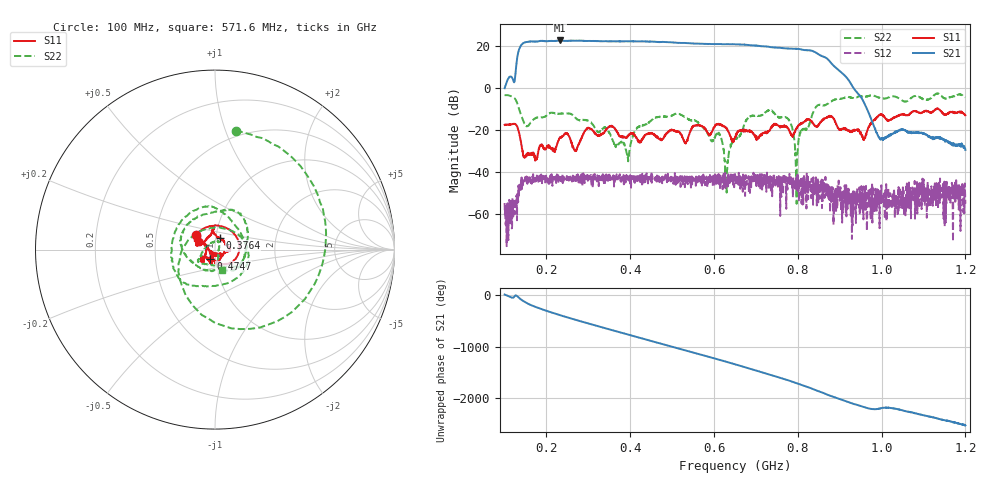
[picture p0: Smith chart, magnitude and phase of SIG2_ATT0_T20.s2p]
# Hz S DB R 50
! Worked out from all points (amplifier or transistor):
!   1601 points, 100 MHz to 1.2 GHz, reference 50 ohm
!   highest |S21| = 22.6 dB at 232 MHz (marker M1)
!   |S21| within 3 dB of that: 137.2 MHz to 729.7 MHz (592.5 MHz wide, 137 % of centre)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
!   unconditionally stable (mu >= 1): start of sweep to end of sweep
!   at 282.9 MHz: K = 6.74, MAG = 22.6 dB, |S12| = -45.3 dB
!   at 650 MHz: K = 4.67, MAG = 20.8 dB, |S12| = -40.1 dB
!   at 1.2 GHz: K = 5286.53, MAG = -27.4 dB, |S12| = -55.1 dB
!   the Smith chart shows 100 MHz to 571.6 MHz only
!   S11 on the Smith chart (normalised r, x): 100 MHz: 0.80, +0.13; 376.4 MHz: 1.04, +0.14; 474.7 MHz: 0.95, -0.10; 571.6 MHz: 0.81, +0.11
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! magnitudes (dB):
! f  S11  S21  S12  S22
! 100 MHz  -17.6  -0.2  -54.8  -3.5
! 127.5 MHz  -17.7  10.1  -51.3  -6.0
! 144 MHz  -32.1  21.2  -45.8  -15.4
! 232 MHz  -23.9  22.6  -43.5  -12.3
! 283.6 MHz  -23.7  22.4  -41.1  -15.4
! 376.4 MHz  -23.0  22.2  -43.1  -26.0
! 394.2 MHz  -23.0  22.2  -43.8  -33.0
! 414.9 MHz  -23.8  22.1  -43.7  -19.4
! 467.1 MHz  -23.9  21.9  -43.3  -13.8
! 474.7 MHz  -24.7  21.8  -44.4  -13.7
! 571.6 MHz  -18.3  21.0  -43.8  -18.5
! 613.6 MHz  -17.5  20.8  -41.6  -22.5
! 629.4 MHz  -19.3  20.8  -47.1  -43.6
! 650 MHz  -23.8  20.7  -40.1  -24.5
! 734.6 MHz  -19.5  19.4  -44.3  -10.6
! 779.2 MHz  -20.3  18.7  -44.6  -15.6
! 797.1 MHz  -18.9  18.5  -48.4  -55.2
! 833.6 MHz  -16.0  17.7  -49.8  -13.3
! 958 MHz  -24.8  -7.1  -57.0  -4.2
! 993.1 MHz  -13.1  -23.3  -49.8  -4.6
! 1.017 GHz  -15.3  -22.6  -50.2  -4.5
! 1.2 GHz  -13.1  -29.5  -55.1  -4.6
